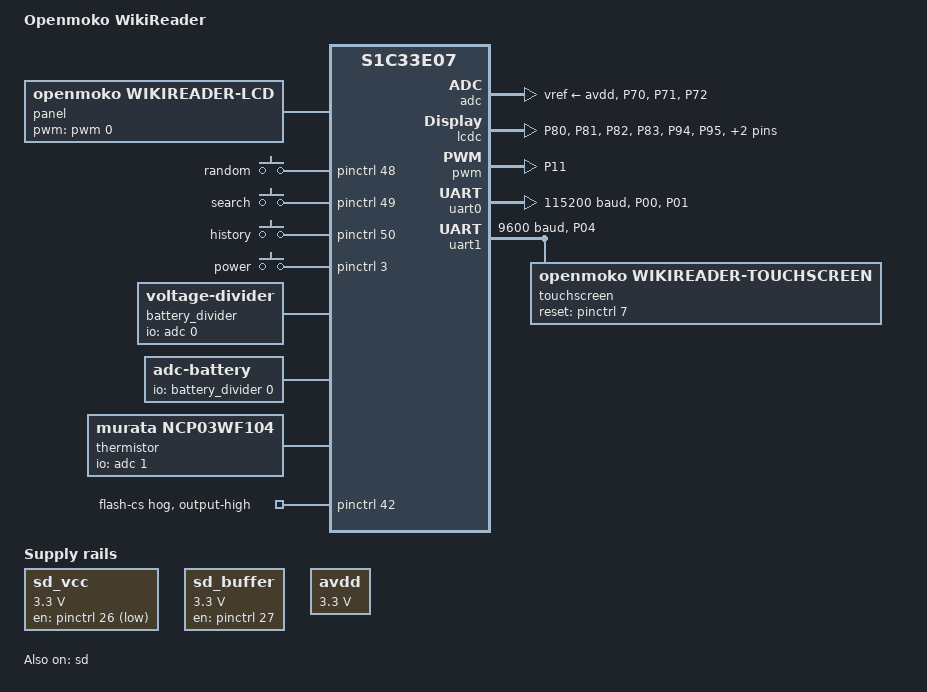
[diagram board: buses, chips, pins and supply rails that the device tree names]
// SPDX-License-Identifier: (GPL-2.0-only OR BSD-2-Clause)
/*
 * The Openmoko WikiReader: an Epson S1C33E07, SDRAM the controller sizes
 * (so no /memory node), a 240x208 monochrome panel, a serial touchscreen,
 * three buttons and a power switch, and the SD card the system runs from.
 * A GPIO is numbered port * 8 + bit: P32 is 26.
 */
/dts-v1/;

#include <dt-bindings/input/input.h>
#include "s1c33e07.dtsi"

/ {
	model = "Openmoko WikiReader";
	compatible = "openmoko,wikireader", "epson,s1c33e07";

	aliases {
		serial0 = &uart0;
		serial1 = &uart1;
	};

	/*
	 * The card's 3.3 V rail is switched by P32 and the level buffer
	 * between it and the S1C33 by P33.  The rail needs a millisecond to
	 * settle before the buffer may drive, and ten microseconds off before
	 * it may come back on.
	 */
	sd_vcc: regulator-sd-vcc {
		compatible = "regulator-fixed";
		regulator-name = "sd-vcc";
		regulator-min-microvolt = <3300000>;
		regulator-max-microvolt = <3300000>;
		gpio = <&pinctrl 26 GPIO_ACTIVE_LOW>;
		startup-delay-us = <1000>;
		off-on-delay-us = <10>;
	};

	sd_buffer: regulator-sd-buffer {
		compatible = "regulator-fixed";
		regulator-name = "sd-buffer";
		regulator-min-microvolt = <3300000>;
		regulator-max-microvolt = <3300000>;
		gpio = <&pinctrl 27 GPIO_ACTIVE_HIGH>;
		enable-active-high;
	};

	/*
	 * The converter's reference is the 3.3 V rail itself, which also
	 * feeds the thermistor's pull-up, so temperatures are ratiometric.
	 */
	avdd: regulator-avdd {
		compatible = "regulator-fixed";
		regulator-name = "avdd";
		regulator-min-microvolt = <3300000>;
		regulator-max-microvolt = <3300000>;
		regulator-always-on;
	};

	/* Contrast: 4096 ticks of MCLK, used only if the loader left it off. */
	panel {
		compatible = "openmoko,wikireader-lcd";
		pwms = <&pwm 0 68267 0>;
	};

	/*
	 * The front buttons are P60..P62 and the power switch P03, all
	 * pressed high: P03 reads low with nobody near the switch, and an
	 * active-low description made every resume report a fresh press.
	 */
	gpio-keys {
		compatible = "gpio-keys";
		label = "WikiReader buttons";

		key-random {
			label = "random";
			linux,code = <KEY_F1>;
			gpios = <&pinctrl 48 GPIO_ACTIVE_HIGH>;
		};

		key-search {
			label = "search";
			linux,code = <KEY_SEARCH>;
			gpios = <&pinctrl 49 GPIO_ACTIVE_HIGH>;
		};

		key-history {
			label = "history";
			linux,code = <KEY_BACK>;
			gpios = <&pinctrl 50 GPIO_ACTIVE_HIGH>;
		};

		key-power {
			label = "power";
			linux,code = <KEY_POWER>;
			gpios = <&pinctrl 3 GPIO_ACTIVE_HIGH>;
		};
	};

	/*
	 * The converter's inputs: AIN0 is the battery through a 150k/1M
	 * divider, AIN1 a 100k NTC thermistor under a 120k pull-up to the
	 * 3.3 V rail, and AIN2 the panel's V4 bias.  The thermistor is a
	 * TCT6GJ104H410, which ntc_thermistor does not list; the Murata
	 * NCP03WF104 it does is the same 100k at 25 C with a B of 4250 K.
	 */
	battery_divider: voltage-divider {
		compatible = "voltage-divider";
		io-channels = <&adc 0>;
		output-ohms = <1000000>;
		full-ohms = <1150000>;
		#io-channel-cells = <1>;
	};

	battery {
		compatible = "adc-battery";
		io-channels = <&battery_divider 0>;
		io-channel-names = "voltage";
	};

	thermistor {
		compatible = "murata,ncp03wf104";
		io-channels = <&adc 1>;
		pullup-uv = <3300000>;
		pullup-ohm = <120000>;
		pulldown-ohm = <0>;
	};
};

&adc {
	vref-supply = <&avdd>;
	pinctrl-names = "default";
	pinctrl-0 = <&adc_pins>;
	status = "okay";
};

&lcdc {
	/* The panel's display-enable line; the controller is on its own. */
	enable-gpios = <&pinctrl 24 GPIO_ACTIVE_HIGH>;
	pinctrl-names = "default";
	pinctrl-0 = <&lcd_pins>;
	status = "okay";
};

&pinctrl {
	/* The SPI flash shares the card's bus; its chip select is held high. */
	flash-cs-hog {
		gpio-hog;
		gpios = <42 GPIO_ACTIVE_HIGH>;
		output-high;
		line-name = "flash-cs";
	};

	adc_pins: adc-pins {
		ain0 {
			pins = "P70";
			function = "ain0";
		};
		ain1 {
			pins = "P71";
			function = "ain1";
		};
		ain2 {
			pins = "P72";
			function = "ain2";
		};
	};

	lcd_pins: lcd-pins {
		fpframe {
			pins = "P80";
			function = "fpframe";
		};
		fpline {
			pins = "P81";
			function = "fpline";
		};
		fpshift {
			pins = "P82";
			function = "fpshift";
		};
		fpdrdy {
			pins = "P83";
			function = "fpdrdy";
		};
		fpdat4 {
			pins = "P94";
			function = "fpdat4";
		};
		fpdat5 {
			pins = "P95";
			function = "fpdat5";
		};
		fpdat6 {
			pins = "P96";
			function = "fpdat6";
		};
		fpdat7 {
			pins = "P97";
			function = "fpdat7";
		};
	};

	pwm_pins: pwm-pins {
		pins = "P11";
		function = "tm1";
	};

	sd_pins: sd-pins {
		sdi {
			pins = "P65";
			function = "sdi";
		};
		sdo {
			pins = "P66";
			function = "sdo";
		};
		clk {
			pins = "P67";
			function = "spi_clk";
		};
	};

	/* SCLK as a port at its idle level while the controller restarts. */
	sd_hold_pins: sd-hold-pins {
		pins = "P67";
		function = "gpio";
		output-low;
	};

	uart0_pins: uart0-pins {
		sin0 {
			pins = "P00";
			function = "sin0";
		};
		sout0 {
			pins = "P01";
			function = "sout0";
		};
	};

	/* The touch panel only talks. */
	uart1_pins: uart1-pins {
		pins = "P04";
		function = "sin1";
	};
};

&pwm {
	pinctrl-names = "default";
	pinctrl-0 = <&pwm_pins>;
	status = "okay";
};

/*
 * The card is the only device on the synchronous serial interface, run at
 * MCLK/4 as Grifo and the original firmware do; the flash's chip select is
 * the hog above.  The card is soldered in: the system runs from it.
 */
&sd {
	cs-gpios = <&pinctrl 40 GPIO_ACTIVE_LOW>;
	vmmc-supply = <&sd_vcc>;
	vqmmc-supply = <&sd_buffer>;
	pinctrl-names = "default", "hold";
	pinctrl-0 = <&sd_pins>;
	pinctrl-1 = <&sd_hold_pins>;
	status = "okay";
};

&uart0 {
	current-speed = <115200>;
	pinctrl-names = "default";
	pinctrl-0 = <&uart0_pins>;
	status = "okay";
};

&uart1 {
	current-speed = <9600>;
	epson,rx-only;
	wakeup-source;
	pinctrl-names = "default";
	pinctrl-0 = <&uart1_pins>;
	status = "okay";

	touchscreen {
		compatible = "openmoko,wikireader-touchscreen";
		reset-gpios = <&pinctrl 7 GPIO_ACTIVE_HIGH>;
		current-speed = <9600>;
		touchscreen-size-x = <240>;
		touchscreen-size-y = <208>;
	};
};
